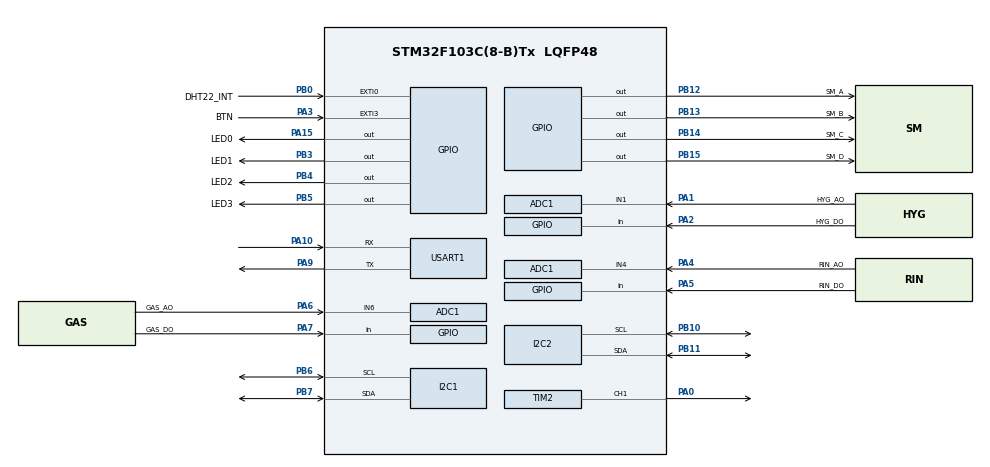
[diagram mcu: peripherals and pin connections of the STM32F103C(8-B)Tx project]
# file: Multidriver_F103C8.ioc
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ADC1.Channel-0\#ChannelRegularConversion=ADC_CHANNEL_1
ADC1.Channel-4\#ChannelRegularConversion=ADC_CHANNEL_4
ADC1.Channel-5\#ChannelRegularConversion=ADC_CHANNEL_6
ADC1.ContinuousConvMode=ENABLE
ADC1.DataAlign=ADC_DATAALIGN_RIGHT
ADC1.DiscontinuousConvMode=DISABLE
ADC1.EnableAnalogWatchDog=false
ADC1.EnableRegularConversion=ENABLE
ADC1.ExternalTrigConv=ADC_SOFTWARE_START
ADC1.InjNumberOfConversion=0
ADC1.NbrOfConversion=3
ADC1.NbrOfConversionFlag=1
ADC1.Rank-0\#ChannelRegularConversion=1
ADC1.Rank-4\#ChannelRegularConversion=2
ADC1.Rank-5\#ChannelRegularConversion=3
ADC1.SamplingTime-0\#ChannelRegularConversion=ADC_SAMPLETIME_71CYCLES_5
ADC1.SamplingTime-4\#ChannelRegularConversion=ADC_SAMPLETIME_71CYCLES_5
ADC1.SamplingTime-5\#ChannelRegularConversion=ADC_SAMPLETIME_71CYCLES_5
ADC1.ScanConvMode=ADC_SCAN_ENABLE
ADC1.master=1
Dma.ADC1.0.Direction=DMA_PERIPH_TO_MEMORY
Dma.ADC1.0.Instance=DMA1_Channel1
Dma.ADC1.0.MemDataAlignment=DMA_MDATAALIGN_WORD
Dma.ADC1.0.MemInc=DMA_MINC_ENABLE
Dma.ADC1.0.Mode=DMA_CIRCULAR
Dma.ADC1.0.PeriphDataAlignment=DMA_PDATAALIGN_WORD
Dma.ADC1.0.PeriphInc=DMA_PINC_DISABLE
Dma.ADC1.0.Priority=DMA_PRIORITY_LOW
Dma.Request0=ADC1
Mcu.Family=STM32F1
Mcu.Name=STM32F103C(8-B)Tx
Mcu.Package=LQFP48
NVIC.ADC1_2_IRQn=true\:0\:0\:false\:false\:true\:true
NVIC.DMA1_Channel1_IRQn=true\:0\:0\:false\:false\:true\:false
NVIC.EXTI0_IRQn=true\:0\:0\:false\:false\:true\:true
NVIC.EXTI3_IRQn=true\:0\:0\:false\:false\:true\:true
NVIC.PriorityGroup=NVIC_PRIORITYGROUP_4
NVIC.TIM3_IRQn=true\:0\:0\:false\:false\:true\:true
NVIC.TIM4_IRQn=true\:0\:0\:false\:false\:true\:true
NVIC.USART1_IRQn=true\:0\:0\:false\:false\:true\:true
PA0-WKUP.Signal=S_TIM2_CH1_ETR
PA1.GPIO_Label=HYG_AO
PA1.Signal=ADCx_IN1
PA10.Mode=Asynchronous
PA10.Signal=USART1_RX
PA13.Mode=Serial_Wire
PA13.Signal=SYS_JTMS-SWDIO
PA14.Mode=Serial_Wire
PA14.Signal=SYS_JTCK-SWCLK
PA15.GPIO_Label=LED0
PA15.Signal=GPIO_Output
PA2.GPIO_Label=HYG_DO
PA2.Signal=GPIO_Input
PA3.GPIO_Label=BTN
PA3.GPIO_ModeDefaultEXTI=GPIO_MODE_IT_FALLING
PA3.GPIO_PuPd=GPIO_PULLUP
PA3.Signal=GPXTI3
PA4.GPIO_Label=RIN_AO
PA4.Signal=ADCx_IN4
PA5.GPIO_Label=RIN_DO
PA5.Signal=GPIO_Input
PA6.GPIO_Label=GAS_AO
PA6.Signal=ADCx_IN6
PA7.GPIO_Label=GAS_DO
PA7.Signal=GPIO_Input
PA9.Mode=Asynchronous
PA9.Signal=USART1_TX
PB0.GPIO_Label=DHT22_INT
PB0.GPIO_ModeDefaultEXTI=GPIO_MODE_IT_FALLING
PB0.Signal=GPXTI0
PB10.Mode=I2C
PB10.Signal=I2C2_SCL
PB11.Mode=I2C
PB11.Signal=I2C2_SDA
PB12.GPIO_Label=SM_A
PB12.Signal=GPIO_Output
PB13.GPIO_Label=SM_B
PB13.Signal=GPIO_Output
PB14.GPIO_Label=SM_C
PB14.Signal=GPIO_Output
PB15.GPIO_Label=SM_D
PB15.Signal=GPIO_Output
PB3.GPIO_Label=LED1
PB3.Signal=GPIO_Output
PB4.GPIO_Label=LED2
PB4.Signal=GPIO_Output
PB5.GPIO_Label=LED3
PB5.Signal=GPIO_Output
PB6.Mode=I2C
PB6.Signal=I2C1_SCL
PB7.Mode=I2C
PB7.Signal=I2C1_SDA
PD0-OSC_IN.Mode=HSE-External-Oscillator
PD0-OSC_IN.Signal=RCC_OSC_IN
PD1-OSC_OUT.Mode=HSE-External-Oscillator
PD1-OSC_OUT.Signal=RCC_OSC_OUT
ProjectManager.HeapSize=0x200
ProjectManager.StackSize=0x400
ProjectManager.TargetToolchain=MDK-ARM V5
RCC.APB1Freq_Value=8000000
RCC.APB2Freq_Value=8000000
SH.ADCx_IN1.0=ADC1_IN1,IN1
SH.ADCx_IN4.0=ADC1_IN4,IN4
SH.ADCx_IN6.0=ADC1_IN6,IN6
SH.S_TIM2_CH1_ETR.0=TIM2_CH1,PWM Generation1 CH1
TIM2.AutoReloadPreload=TIM_AUTORELOAD_PRELOAD_ENABLE
TIM2.Channel-PWM\ Generation1\ CH1=TIM_CHANNEL_1
TIM2.Period=18181
TIM2.Pulse-PWM\ Generation1\ CH1=9091
TIM3.AutoReloadPreload=TIM_AUTORELOAD_PRELOAD_DISABLE
TIM3.Channel-Output\ Compare1\ No\ Output=TIM_CHANNEL_1
TIM3.Period=20
TIM3.Prescaler=7999
TIM3.Pulse-Output\ Compare1\ No\ Output=20000
TIM3.TIM_MasterOutputTrigger=TIM_TRGO_RESET
TIM4.AutoReloadPreload=TIM_AUTORELOAD_PRELOAD_ENABLE
TIM4.Channel-Output\ Compare1\ No\ Output=TIM_CHANNEL_1
TIM4.Channel-Output\ Compare2\ No\ Output=TIM_CHANNEL_2
TIM4.Channel-Output\ Compare3\ No\ Output=TIM_CHANNEL_3
TIM4.Channel-Output\ Compare4\ No\ Output=TIM_CHANNEL_4
TIM4.Period=49999
TIM4.Prescaler=15
TIM4.Pulse-Output\ Compare1\ No\ Output=49999
TIM4.Pulse-Output\ Compare2\ No\ Output=49999
TIM4.Pulse-Output\ Compare3\ No\ Output=49999
TIM4.Pulse-Output\ Compare4\ No\ Output=49999
USART1.VirtualMode=VM_ASYNC
VP_TIM3_VS_no_output1.Mode=Output Compare1 No Output
VP_TIM4_VS_no_output1.Mode=Output Compare1 No Output
VP_TIM4_VS_no_output2.Mode=Output Compare2 No Output
VP_TIM4_VS_no_output3.Mode=Output Compare3 No Output
VP_TIM4_VS_no_output4.Mode=Output Compare4 No Output
board=Multidriver_F103C8

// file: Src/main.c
/**
  ******************************************************************************
  * @file           : main.c
  * @brief          : Main program body
  ******************************************************************************
  ** This notice applies to any and all portions of this file
  * that are not between comment pairs USER CODE BEGIN and
  * USER CODE END. Other portions of this file, whether
  * inserted by the user or by software development tools
  * are owned by their respective copyright owners.
  *
  * COPYRIGHT(c) 2019 STMicroelectronics
  *
  * Redistribution and use in source and binary forms, with or without modification,
  * are permitted provided that the following conditions are met:
  *   1. Redistributions of source code must retain the above copyright notice,
  *      this list of conditions and the following disclaimer.
  *   2. Redistributions in binary form must reproduce the above copyright notice,
  *      this list of conditions and the following disclaimer in the documentation
  *      and/or other materials provided with the distribution.
  *   3. Neither the name of STMicroelectronics nor the names of its contributors
  *      may be used to endorse or promote products derived from this software
  *      without specific prior written permission.
  *
  * THIS SOFTWARE IS PROVIDED BY THE COPYRIGHT HOLDERS AND CONTRIBUTORS "AS IS"
  * AND ANY EXPRESS OR IMPLIED WARRANTIES, INCLUDING, BUT NOT LIMITED TO, THE
  * IMPLIED WARRANTIES OF MERCHANTABILITY AND FITNESS FOR A PARTICULAR PURPOSE ARE
  * DISCLAIMED. IN NO EVENT SHALL THE COPYRIGHT HOLDER OR CONTRIBUTORS BE LIABLE
  * FOR ANY DIRECT, INDIRECT, INCIDENTAL, SPECIAL, EXEMPLARY, OR CONSEQUENTIAL
  * DAMAGES (INCLUDING, BUT NOT LIMITED TO, PROCUREMENT OF SUBSTITUTE GOODS OR
  * SERVICES; LOSS OF USE, DATA, OR PROFITS; OR BUSINESS INTERRUPTION) HOWEVER
  * CAUSED AND ON ANY THEORY OF LIABILITY, WHETHER IN CONTRACT, STRICT LIABILITY,
  * OR TORT (INCLUDING NEGLIGENCE OR OTHERWISE) ARISING IN ANY WAY OUT OF THE USE
  * OF THIS SOFTWARE, EVEN IF ADVISED OF THE POSSIBILITY OF SUCH DAMAGE.
  *
  ******************************************************************************
  */
#include "main.h"
#include "stm32f1xx_hal.h"

/* USER CODE BEGIN Includes */
#include "Alerts.h"
#include "uart_helper.h"
#include "string.h"
#include "bmp180.h"
#include "AD_sensors.h"
#include "ULN2003_SM.h"
#include "lcd_i2c.h"
/* USER CODE END Includes */

ADC_HandleTypeDef hadc1;
DMA_HandleTypeDef hdma_adc1;

I2C_HandleTypeDef hi2c1;
I2C_HandleTypeDef hi2c2;

TIM_HandleTypeDef htim2;
TIM_HandleTypeDef htim3;
TIM_HandleTypeDef htim4;

UART_HandleTypeDef huart1;

/* USER CODE BEGIN PV */
/* Private variables ---------------------------------------------------------*/
uint32_t ADC_BUF[3];
uint32_t SENS_val[3];
uint16_t freq;
uint8_t str0[40];
uint8_t str1[40];
/* USER CODE END PV */

void SystemClock_Config(void);
static void MX_GPIO_Init(void);
static void MX_DMA_Init(void);
static void MX_I2C1_Init(void);
static void MX_I2C2_Init(void);
static void MX_USART1_UART_Init(void);
static void MX_TIM4_Init(void);
static void MX_TIM2_Init(void);
static void MX_TIM3_Init(void);
static void MX_ADC1_Init(void);

void HAL_TIM_MspPostInit(TIM_HandleTypeDef *htim);

/* USER CODE BEGIN PFP */
/* Private function prototypes -----------------------------------------------*/

/* USER CODE END PFP */

/* USER CODE BEGIN 0 */
uint8_t i;
uint16_t adc_gain;
volatile uint8_t flags;
volatile uint32_t stopwatch;
extern volatile uint8_t uart_in[64];
extern volatile unsigned char * uart_in_p;

extern uint8_t uart_str[64];
extern char* uart_str_p;

extern     LED_driver LD1, LD2, LD3, LD4;
extern     LED_driver* LED_p[4];
extern     BUZ_driver Buzzer;

extern     bmp_data_t dataBMP;

volatile uint8_t DHT22_buf [50];
volatile uint8_t DHT22_cnt;

SENS_driver HYG, RIN, GAS;
SM_driver SM;
LCDDriver LCD;

/* USER CODE END 0 */

int main(void)
{

  /* MCU Configuration----------------------------------------------------------*/

  /* Reset of all peripherals, Initializes the Flash interface and the Systick. */
  HAL_Init();

  /* USER CODE BEGIN Init */
    LD1.LED_Port = GPIOA;   LD1.LED_Pin = GPIO_PIN_15;
    LD2.LED_Port = GPIOB;   LD2.LED_Pin = GPIO_PIN_3;
    LD3.LED_Port = GPIOB;   LD3.LED_Pin = GPIO_PIN_4;
    LD4.LED_Port = GPIOB;   LD4.LED_Pin = GPIO_PIN_5;
    LED_p[0]=&LD1; LED_p[1]=&LD2; LED_p[2]=&LD3; LED_p[3]=&LD4;

    Buzzer.TIM_Handle = &htim2;
    Buzzer.TIM_Channel = TIM_CHANNEL_1;

    HYG.hadc=&hadc1;
    HYG.SENS_PortD=HYG_DO_GPIO_Port; HYG.SENS_PinD=HYG_DO_Pin;
    HYG.SENS_PortA=HYG_AO_GPIO_Port; HYG.SENS_PinA=HYG_AO_Pin;
    HYG.val = &ADC_BUF[0];
    HYG.Type = SN_HYG;

	RIN.hadc=&hadc1;
    RIN.SENS_PortD=RIN_DO_GPIO_Port; RIN.SENS_PinD=RIN_DO_Pin;
    RIN.SENS_PortA=RIN_AO_GPIO_Port; RIN.SENS_PinA=RIN_AO_Pin;
    RIN.val = &ADC_BUF[1];
    RIN.Type = SN_RIN;

	GAS.hadc=&hadc1;
    GAS.SENS_PortD=GAS_DO_GPIO_Port; GAS.SENS_PinD=GAS_DO_Pin;
    GAS.SENS_PortA=GAS_AO_GPIO_Port; GAS.SENS_PinA=GAS_AO_Pin;
    GAS.val = &ADC_BUF[2];
    GAS.Type = SN_GAS;

    SM.SM_Port = GPIOB;
    SM.step=0;
    SM.time=0;
    SM.period=0;
    SM.direction=CLOCKWISE;
    SM.htim = &htim3;
    freq=440;
  /* USER CODE END Init */

  /* Configure the system clock */
  SystemClock_Config();

  /* Initialize all configured peripherals */
  MX_GPIO_Init();
  MX_DMA_Init();
  MX_I2C1_Init();
  MX_I2C2_Init();
  MX_USART1_UART_Init();
  MX_TIM4_Init();
  MX_TIM2_Init();
  MX_TIM3_Init();
  MX_ADC1_Init();
  /* USER CODE BEGIN 2 */
  bmp180_Init(&dataBMP);
  stopwatch = 0;
    HAL_TIM_OC_Start_IT (&htim4, TIM_CHANNEL_1);   //enable buzz timer
    HAL_TIM_OC_Start_IT (&htim4, TIM_CHANNEL_2);   //enable blink timer

//    for (i=0; i<0xFF;i++)
//        {
//            if  (HAL_I2C_IsDeviceReady (&hi2c2, i, 10, 100) == HAL_OK)
//            {
//                sprintf(uart_str_p, "Reply on 0x%02x\n",i);
//                HAL_UART_Transmit(&huart1, uart_str, strlen(uart_str_p), 100);
//            }
//        }

    BLINK (5, 1, PERM);
    sprintf(uart_str_p, "\nAssimilation successful. %u\n",SystemCoreClock);
    HAL_UART_Transmit(&huart1, uart_str, strlen(uart_str_p), 100);
//    BUZZ (1);   //REPORT FOR DUTY!

// enable ADC
    HAL_ADC_Start_DMA(&hadc1, (uint32_t*) ADC_BUF, 3);
//    HAL_ADC_Start_IT (&hadc1);
    ULN2003_go (&SM, 50, 1, CLOCKWISE);

    lcdStart (&LCD, &hi2c2, 0x7E);
//    lcdPutString (&LCD, "0123456789ABCDEF");
//    lcdWriteStringXY(&LCD,"TY-PIDOR",0,1);
  /* USER CODE END 2 */

  /* Infinite loop */
  while (1)
  {

  /* USER CODE BEGIN 3 */

//    HAL_ADC_Start_IT (&hadc1);
    SENS_val[0]=Sensor_Get_Data(&HYG);
    SENS_val[1]=Sensor_Get_Data(&RIN);
    SENS_val[2]=Sensor_Get_Data(&GAS);
      calculate_TPA(&dataBMP);
      sprintf (str0, "T: %3.1f P:%6.0f", dataBMP.temp /10,dataBMP.pressure);
      sprintf (str1, "H: %02u%c R:%02u%cG:%02u", SENS_val[0],0x20|HYG.State,SENS_val[1],0x20|RIN.State,SENS_val[2]);
      lcdPutString (&LCD, str0);
      lcdWriteStringXY(&LCD,str1,0,1);
//    HAL_GPIO_WritePin (LD4.LED_Port, LD4.LED_Pin, (GPIOA->IDR&0x08)>>3);
      if (RIN.State == STATE_ON)
      {
            ULN2003_go (&SM, 50, (110-SENS_val[1])/4, CLOCKWISE);
      }
      else
          ULN2003_stop (&SM);
      if (GAS.State == STATE_ON)
      {
          Alarm_On(freq);
          if (!(flags&0x20))
          {
            freq -=20;
            if (freq<240)
                    flags |=0x20;
          }
          else
          {
              freq+=20;
              if (freq>860)
                  flags &= ~(0x20);
          }
      }
      else
      {
          Alarm_Off();
          freq=440;
      }

    if (flags & 0x01)
    {
        //BMP180 - Temperature, Pressure, Altitude
        if  ( (HAL_I2C_IsDeviceReady (&hi2c1, BMP_READ_ADDR, 10, 100) == HAL_OK) && (HAL_I2C_IsDeviceReady (&hi2c1, BMP_WRITE_ADDR, 10, 100) == HAL_OK))
        {
            calculate_TPA(&dataBMP);
            sprintf(uart_str_p, "\nBMP180 says: T=%3.1f, P=%3.0f, A=%3.2f\n",dataBMP.temp /10,dataBMP.pressure, dataBMP.altitude);
        }
        else
            sprintf(uart_str_p, "\nBMP180 is out\n");
        HAL_UART_Transmit(&huart1, uart_str, strlen(uart_str_p), 100);

        //WET and GAS sensors
        sprintf(uart_str_p, "HYG says: %02u",SENS_val[0]);
        HAL_UART_Transmit(&huart1, uart_str, strlen(uart_str_p), 100);
        if (HYG.State==STATE_ON)
            sprintf(uart_str_p, ", WET\n");
        else
            sprintf(uart_str_p, ", DRY\n");
        HAL_UART_Transmit(&huart1, uart_str, strlen(uart_str_p), 100);

        sprintf(uart_str_p, "RIN says: %02u",SENS_val[1]);
        HAL_UART_Transmit(&huart1, uart_str, strlen(uart_str_p), 100);
        if (RIN.State==STATE_ON)
            sprintf(uart_str_p, ", WET\n");
        else
            sprintf(uart_str_p, ", DRY\n");
        HAL_UART_Transmit(&huart1, uart_str, strlen(uart_str_p), 100);

        sprintf(uart_str_p, "GAS says: %02u",SENS_val[2]);
        HAL_UART_Transmit(&huart1, uart_str, strlen(uart_str_p), 100);
        if (GAS.State==STATE_ON)
            sprintf(uart_str_p, ", I_CHOKE\n");
        else
            sprintf(uart_str_p, ", BREATHE\n");
        HAL_UART_Transmit(&huart1, uart_str, strlen(uart_str_p), 100);

        sprintf(uart_str_p, "ADC BUF = %04u, %04u, %04u\n",ADC_BUF[0],ADC_BUF[1],ADC_BUF[2]);
        HAL_UART_Transmit(&huart1, uart_str, strlen(uart_str_p), 100);

        flags &= ~(0x01);

    }
    HAL_Delay(100);
  }
  /* USER CODE END 3 */

}

void SystemClock_Config(void)
{

  RCC_OscInitTypeDef RCC_OscInitStruct;
  RCC_ClkInitTypeDef RCC_ClkInitStruct;
  RCC_PeriphCLKInitTypeDef PeriphClkInit;

    /**Initializes the CPU, AHB and APB busses clocks
    */
  RCC_OscInitStruct.OscillatorType = RCC_OSCILLATORTYPE_HSI;
  RCC_OscInitStruct.HSIState = RCC_HSI_ON;
  RCC_OscInitStruct.HSICalibrationValue = 16;
  RCC_OscInitStruct.PLL.PLLState = RCC_PLL_NONE;
  if (HAL_RCC_OscConfig(&RCC_OscInitStruct) != HAL_OK)
  {
    _Error_Handler(__FILE__, __LINE__);
  }

    /**Initializes the CPU, AHB and APB busses clocks
    */
  RCC_ClkInitStruct.ClockType = RCC_CLOCKTYPE_HCLK|RCC_CLOCKTYPE_SYSCLK
                              |RCC_CLOCKTYPE_PCLK1|RCC_CLOCKTYPE_PCLK2;
  RCC_ClkInitStruct.SYSCLKSource = RCC_SYSCLKSOURCE_HSI;
  RCC_ClkInitStruct.AHBCLKDivider = RCC_SYSCLK_DIV1;
  RCC_ClkInitStruct.APB1CLKDivider = RCC_HCLK_DIV1;
  RCC_ClkInitStruct.APB2CLKDivider = RCC_HCLK_DIV1;

  if (HAL_RCC_ClockConfig(&RCC_ClkInitStruct, FLASH_LATENCY_0) != HAL_OK)
  {
    _Error_Handler(__FILE__, __LINE__);
  }

  PeriphClkInit.PeriphClockSelection = RCC_PERIPHCLK_ADC;
  PeriphClkInit.AdcClockSelection = RCC_ADCPCLK2_DIV2;
  if (HAL_RCCEx_PeriphCLKConfig(&PeriphClkInit) != HAL_OK)
  {
    _Error_Handler(__FILE__, __LINE__);
  }

    /**Configure the Systick interrupt time
    */
  HAL_SYSTICK_Config(HAL_RCC_GetHCLKFreq()/1000);

    /**Configure the Systick
    */
  HAL_SYSTICK_CLKSourceConfig(SYSTICK_CLKSOURCE_HCLK);

  /* SysTick_IRQn interrupt configuration */
  HAL_NVIC_SetPriority(SysTick_IRQn, 0, 0);
}

/* ADC1 init function */
static void MX_ADC1_Init(void)
{

  ADC_ChannelConfTypeDef sConfig;

    /**Common config
    */
  hadc1.Instance = ADC1;
  hadc1.Init.ScanConvMode = ADC_SCAN_ENABLE;
  hadc1.Init.ContinuousConvMode = ENABLE;
  hadc1.Init.DiscontinuousConvMode = DISABLE;
  hadc1.Init.ExternalTrigConv = ADC_SOFTWARE_START;
  hadc1.Init.DataAlign = ADC_DATAALIGN_RIGHT;
  hadc1.Init.NbrOfConversion = 3;
  if (HAL_ADC_Init(&hadc1) != HAL_OK)
  {
    _Error_Handler(__FILE__, __LINE__);
  }

    /**Configure Regular Channel
    */
  sConfig.Channel = ADC_CHANNEL_1;
  sConfig.Rank = ADC_REGULAR_RANK_1;
  sConfig.SamplingTime = ADC_SAMPLETIME_71CYCLES_5;
  if (HAL_ADC_ConfigChannel(&hadc1, &sConfig) != HAL_OK)
  {
    _Error_Handler(__FILE__, __LINE__);
  }

    /**Configure Regular Channel
    */
  sConfig.Channel = ADC_CHANNEL_4;
  sConfig.Rank = ADC_REGULAR_RANK_2;
  if (HAL_ADC_ConfigChannel(&hadc1, &sConfig) != HAL_OK)
  {
    _Error_Handler(__FILE__, __LINE__);
  }

    /**Configure Regular Channel
    */
  sConfig.Channel = ADC_CHANNEL_6;
  sConfig.Rank = ADC_REGULAR_RANK_3;
  if (HAL_ADC_ConfigChannel(&hadc1, &sConfig) != HAL_OK)
  {
    _Error_Handler(__FILE__, __LINE__);
  }

}

/* I2C1 init function */
static void MX_I2C1_Init(void)
{

  hi2c1.Instance = I2C1;
  hi2c1.Init.ClockSpeed = 100000;
  hi2c1.Init.DutyCycle = I2C_DUTYCYCLE_2;
  hi2c1.Init.OwnAddress1 = 0;
  hi2c1.Init.AddressingMode = I2C_ADDRESSINGMODE_7BIT;
  hi2c1.Init.DualAddressMode = I2C_DUALADDRESS_DISABLE;
  hi2c1.Init.OwnAddress2 = 0;
  hi2c1.Init.GeneralCallMode = I2C_GENERALCALL_DISABLE;
  hi2c1.Init.NoStretchMode = I2C_NOSTRETCH_DISABLE;
  if (HAL_I2C_Init(&hi2c1) != HAL_OK)
  {
    _Error_Handler(__FILE__, __LINE__);
  }

}

/* I2C2 init function */
static void MX_I2C2_Init(void)
{

  hi2c2.Instance = I2C2;
  hi2c2.Init.ClockSpeed = 100000;
  hi2c2.Init.DutyCycle = I2C_DUTYCYCLE_2;
  hi2c2.Init.OwnAddress1 = 0;
  hi2c2.Init.AddressingMode = I2C_ADDRESSINGMODE_7BIT;
  hi2c2.Init.DualAddressMode = I2C_DUALADDRESS_DISABLE;
  hi2c2.Init.OwnAddress2 = 0;
  hi2c2.Init.GeneralCallMode = I2C_GENERALCALL_DISABLE;
  hi2c2.Init.NoStretchMode = I2C_NOSTRETCH_DISABLE;
  if (HAL_I2C_Init(&hi2c2) != HAL_OK)
  {
    _Error_Handler(__FILE__, __LINE__);
  }

}

/* TIM2 init function */
static void MX_TIM2_Init(void)
{

  TIM_MasterConfigTypeDef sMasterConfig;
  TIM_OC_InitTypeDef sConfigOC;

  htim2.Instance = TIM2;
  htim2.Init.Prescaler = 0;
  htim2.Init.CounterMode = TIM_COUNTERMODE_UP;
  htim2.Init.Period = 18181;
  htim2.Init.ClockDivision = TIM_CLOCKDIVISION_DIV1;
  htim2.Init.AutoReloadPreload = TIM_AUTORELOAD_PRELOAD_ENABLE;
  if (HAL_TIM_PWM_Init(&htim2) != HAL_OK)
  {
    _Error_Handler(__FILE__, __LINE__);
  }

  sMasterConfig.MasterOutputTrigger = TIM_TRGO_RESET;
  sMasterConfig.MasterSlaveMode = TIM_MASTERSLAVEMODE_DISABLE;
  if (HAL_TIMEx_MasterConfigSynchronization(&htim2, &sMasterConfig) != HAL_OK)
  {
    _Error_Handler(__FILE__, __LINE__);
  }

  sConfigOC.OCMode = TIM_OCMODE_PWM1;
  sConfigOC.Pulse = 9091;
  sConfigOC.OCPolarity = TIM_OCPOLARITY_HIGH;
  sConfigOC.OCFastMode = TIM_OCFAST_DISABLE;
  if (HAL_TIM_PWM_ConfigChannel(&htim2, &sConfigOC, TIM_CHANNEL_1) != HAL_OK)
  {
    _Error_Handler(__FILE__, __LINE__);
  }

  HAL_TIM_MspPostInit(&htim2);

}

/* TIM3 init function */
static void MX_TIM3_Init(void)
{

  TIM_MasterConfigTypeDef sMasterConfig;
  TIM_OC_InitTypeDef sConfigOC;

  htim3.Instance = TIM3;
  htim3.Init.Prescaler = 7999;
  htim3.Init.CounterMode = TIM_COUNTERMODE_UP;
  htim3.Init.Period = 20;
  htim3.Init.ClockDivision = TIM_CLOCKDIVISION_DIV1;
  htim3.Init.AutoReloadPreload = TIM_AUTORELOAD_PRELOAD_ENABLE;
  if (HAL_TIM_OC_Init(&htim3) != HAL_OK)
  {
    _Error_Handler(__FILE__, __LINE__);
  }

  sMasterConfig.MasterOutputTrigger = TIM_TRGO_RESET;
  sMasterConfig.MasterSlaveMode = TIM_MASTERSLAVEMODE_DISABLE;
  if (HAL_TIMEx_MasterConfigSynchronization(&htim3, &sMasterConfig) != HAL_OK)
  {
    _Error_Handler(__FILE__, __LINE__);
  }

  sConfigOC.OCMode = TIM_OCMODE_TIMING;
  sConfigOC.Pulse = 20;
  sConfigOC.OCPolarity = TIM_OCPOLARITY_HIGH;
  sConfigOC.OCFastMode = TIM_OCFAST_DISABLE;
  if (HAL_TIM_OC_ConfigChannel(&htim3, &sConfigOC, TIM_CHANNEL_1) != HAL_OK)
  {
    _Error_Handler(__FILE__, __LINE__);
  }

}

/* TIM4 init function */
static void MX_TIM4_Init(void)
{

  TIM_MasterConfigTypeDef sMasterConfig;
  TIM_OC_InitTypeDef sConfigOC;

  htim4.Instance = TIM4;
  htim4.Init.Prescaler = 15;
  htim4.Init.CounterMode = TIM_COUNTERMODE_UP;
  htim4.Init.Period = 49999;
  htim4.Init.ClockDivision = TIM_CLOCKDIVISION_DIV1;
  htim4.Init.AutoReloadPreload = TIM_AUTORELOAD_PRELOAD_ENABLE;
  if (HAL_TIM_OC_Init(&htim4) != HAL_OK)
  {
    _Error_Handler(__FILE__, __LINE__);
  }

  sMasterConfig.MasterOutputTrigger = TIM_TRGO_RESET;
  sMasterConfig.MasterSlaveMode = TIM_MASTERSLAVEMODE_DISABLE;
  if (HAL_TIMEx_MasterConfigSynchronization(&htim4, &sMasterConfig) != HAL_OK)
  {
    _Error_Handler(__FILE__, __LINE__);
  }

  sConfigOC.OCMode = TIM_OCMODE_TIMING;
  sConfigOC.Pulse = 49999;
  sConfigOC.OCPolarity = TIM_OCPOLARITY_HIGH;
  sConfigOC.OCFastMode = TIM_OCFAST_DISABLE;
  if (HAL_TIM_OC_ConfigChannel(&htim4, &sConfigOC, TIM_CHANNEL_1) != HAL_OK)
  {
    _Error_Handler(__FILE__, __LINE__);
  }

  if (HAL_TIM_OC_ConfigChannel(&htim4, &sConfigOC, TIM_CHANNEL_2) != HAL_OK)
  {
    _Error_Handler(__FILE__, __LINE__);
  }

  if (HAL_TIM_OC_ConfigChannel(&htim4, &sConfigOC, TIM_CHANNEL_3) != HAL_OK)
  {
    _Error_Handler(__FILE__, __LINE__);
  }

  if (HAL_TIM_OC_ConfigChannel(&htim4, &sConfigOC, TIM_CHANNEL_4) != HAL_OK)
  {
    _Error_Handler(__FILE__, __LINE__);
  }

}

/* USART1 init function */
static void MX_USART1_UART_Init(void)
{

  huart1.Instance = USART1;
  huart1.Init.BaudRate = 115200;
  huart1.Init.WordLength = UART_WORDLENGTH_8B;
  huart1.Init.StopBits = UART_STOPBITS_1;
  huart1.Init.Parity = UART_PARITY_NONE;
  huart1.Init.Mode = UART_MODE_TX_RX;
  huart1.Init.HwFlowCtl = UART_HWCONTROL_NONE;
  huart1.Init.OverSampling = UART_OVERSAMPLING_16;
  if (HAL_UART_Init(&huart1) != HAL_OK)
  {
    _Error_Handler(__FILE__, __LINE__);
  }

}

static void MX_DMA_Init(void)
{
  /* DMA controller clock enable */
  __HAL_RCC_DMA1_CLK_ENABLE();

  /* DMA interrupt init */
  /* DMA1_Channel1_IRQn interrupt configuration */
  HAL_NVIC_SetPriority(DMA1_Channel1_IRQn, 0, 0);
  HAL_NVIC_EnableIRQ(DMA1_Channel1_IRQn);

}

/** Configure pins as
        * Analog
        * Input
        * Output
        * EVENT_OUT
        * EXTI
*/
static void MX_GPIO_Init(void)
{

  GPIO_InitTypeDef GPIO_InitStruct;

  /* GPIO Ports Clock Enable */
  __HAL_RCC_GPIOD_CLK_ENABLE();
  __HAL_RCC_GPIOA_CLK_ENABLE();
  __HAL_RCC_GPIOB_CLK_ENABLE();

  /*Configure GPIO pin Output Level */
  HAL_GPIO_WritePin(GPIOB, SM_A_Pin|SM_B_Pin|SM_C_Pin|SM_D_Pin
                          |LED1_Pin|LED2_Pin|LED3_Pin, GPIO_PIN_RESET);

  /*Configure GPIO pin Output Level */
  HAL_GPIO_WritePin(LED0_GPIO_Port, LED0_Pin, GPIO_PIN_RESET);

  /*Configure GPIO pins : HYG_DO_Pin RIN_DO_Pin GAS_DO_Pin */
  GPIO_InitStruct.Pin = HYG_DO_Pin|RIN_DO_Pin|GAS_DO_Pin;
  GPIO_InitStruct.Mode = GPIO_MODE_INPUT;
  GPIO_InitStruct.Pull = GPIO_NOPULL;
  HAL_GPIO_Init(GPIOA, &GPIO_InitStruct);

  /*Configure GPIO pin : BTN_Pin */
  GPIO_InitStruct.Pin = BTN_Pin;
  GPIO_InitStruct.Mode = GPIO_MODE_IT_FALLING;
  GPIO_InitStruct.Pull = GPIO_PULLUP;
  HAL_GPIO_Init(BTN_GPIO_Port, &GPIO_InitStruct);

  /*Configure GPIO pin : DHT22_INT_Pin */
  GPIO_InitStruct.Pin = DHT22_INT_Pin;
  GPIO_InitStruct.Mode = GPIO_MODE_IT_FALLING;
  GPIO_InitStruct.Pull = GPIO_NOPULL;
  HAL_GPIO_Init(DHT22_INT_GPIO_Port, &GPIO_InitStruct);

  /*Configure GPIO pins : SM_A_Pin SM_B_Pin SM_C_Pin SM_D_Pin
                           LED1_Pin LED2_Pin LED3_Pin */
  GPIO_InitStruct.Pin = SM_A_Pin|SM_B_Pin|SM_C_Pin|SM_D_Pin
                          |LED1_Pin|LED2_Pin|LED3_Pin;
  GPIO_InitStruct.Mode = GPIO_MODE_OUTPUT_PP;
  GPIO_InitStruct.Speed = GPIO_SPEED_FREQ_LOW;
  HAL_GPIO_Init(GPIOB, &GPIO_InitStruct);

  /*Configure GPIO pin : LED0_Pin */
  GPIO_InitStruct.Pin = LED0_Pin;
  GPIO_InitStruct.Mode = GPIO_MODE_OUTPUT_PP;
  GPIO_InitStruct.Speed = GPIO_SPEED_FREQ_LOW;
  HAL_GPIO_Init(LED0_GPIO_Port, &GPIO_InitStruct);

  /* EXTI interrupt init*/
  HAL_NVIC_SetPriority(EXTI0_IRQn, 0, 0);
  HAL_NVIC_EnableIRQ(EXTI0_IRQn);

  HAL_NVIC_SetPriority(EXTI3_IRQn, 0, 0);
  HAL_NVIC_EnableIRQ(EXTI3_IRQn);

}

void _Error_Handler(char *file, int line)
{
  while(1)
  {
  }
}

/************************ (C) COPYRIGHT STMicroelectronics *****END OF FILE****/
